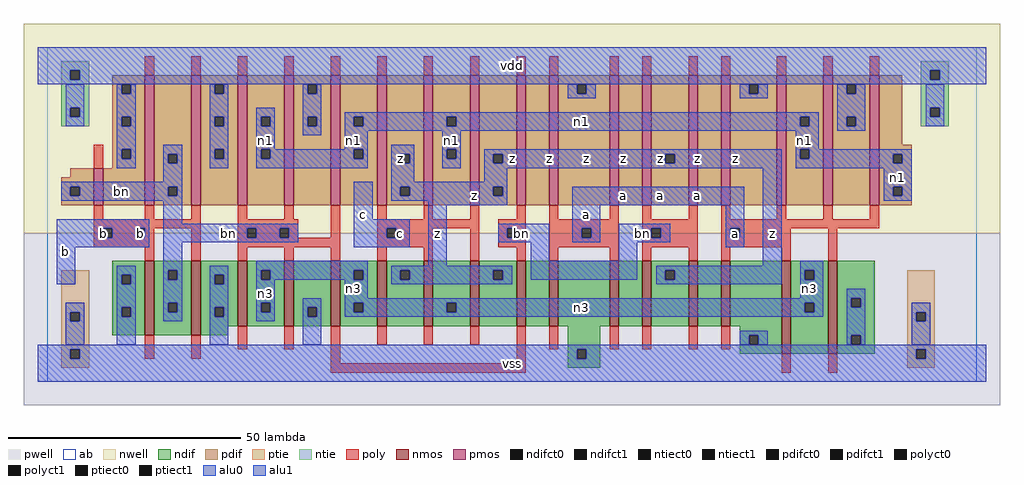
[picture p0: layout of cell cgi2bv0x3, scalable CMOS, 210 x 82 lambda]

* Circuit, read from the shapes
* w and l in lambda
.subckt cgi2bv0x3 a b bn c n1 n3 vdd vss z
M1 bn b vss vss nfet w=16 l=2 m=2
M2 n3 bn vss vss nfet w=14 l=2 m=3
M3 z c n3 vss nfet w=14 l=2 m=3
M4 n2 bn z vss nfet w=14 l=2
M5 vss a n2 vss nfet w=14 l=2
M6 n4 a vss vss nfet w=14 l=2
M7 z bn n4 vss nfet w=14 l=2
M8 n5 bn z vss nfet w=14 l=2
M9 vss a n5 vss nfet w=14 l=2
M10 n3 a vss vss nfet w=20 l=2 m=2
M11 vdd b bn vdd pfet w=8 l=2
M12 bn b vdd vdd pfet w=28 l=2 m=2
M13 n1 bn vdd vdd pfet w=28 l=2 m=3
M14 z c n1 vdd pfet w=28 l=2 m=3
M15 n6 bn z vdd pfet w=28 l=2
M16 vdd a n6 vdd pfet w=28 l=2
M17 n7 a vdd vdd pfet w=28 l=2
M18 z bn n7 vdd pfet w=28 l=2
M19 n8 bn z vdd pfet w=28 l=2
M20 vdd a n8 vdd pfet w=28 l=2
M21 n1 a vdd vdd pfet w=28 l=2 m=3
.ends

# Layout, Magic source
magic
tech scmos
<< ab >>
rect 0 0 200 72
<< nwell >>
rect -5 32 205 77
<< pwell >>
rect -5 -5 205 32
<< poly >>
rect 21 66 23 70
rect 31 66 33 70
rect 41 66 43 70
rect 51 66 53 70
rect 61 66 63 70
rect 71 66 73 70
rect 81 66 83 70
rect 91 66 93 70
rect 101 66 103 70
rect 108 66 110 70
rect 121 66 123 70
rect 128 66 130 70
rect 138 66 140 70
rect 145 66 147 70
rect 157 66 159 70
rect 167 66 169 70
rect 177 66 179 70
rect 10 46 12 51
rect 10 35 12 38
rect 21 35 23 38
rect 31 35 33 38
rect 10 33 33 35
rect 10 31 12 33
rect 14 31 19 33
rect 21 31 23 33
rect 10 29 23 31
rect 21 26 23 29
rect 31 26 33 33
rect 41 35 43 38
rect 51 35 53 38
rect 41 33 54 35
rect 41 31 43 33
rect 45 31 50 33
rect 52 31 54 33
rect 61 31 63 38
rect 41 29 63 31
rect 41 26 43 29
rect 51 26 53 29
rect 61 26 63 29
rect 71 35 73 38
rect 81 35 83 38
rect 91 35 93 38
rect 101 35 103 38
rect 71 33 93 35
rect 71 31 73 33
rect 75 31 83 33
rect 71 29 83 31
rect 71 26 73 29
rect 81 26 83 29
rect 91 26 93 33
rect 97 33 103 35
rect 97 31 99 33
rect 101 31 103 33
rect 97 29 103 31
rect 101 26 103 29
rect 108 35 110 38
rect 121 35 123 38
rect 108 33 123 35
rect 108 31 115 33
rect 117 31 123 33
rect 108 29 123 31
rect 108 26 110 29
rect 121 26 123 29
rect 128 35 130 38
rect 138 35 140 38
rect 128 33 140 35
rect 128 31 130 33
rect 132 31 140 33
rect 128 29 140 31
rect 128 26 130 29
rect 138 26 140 29
rect 145 35 147 38
rect 157 35 159 38
rect 167 35 169 38
rect 177 35 179 38
rect 145 33 179 35
rect 145 31 147 33
rect 149 31 160 33
rect 145 29 160 31
rect 145 26 147 29
rect 158 26 160 29
rect 168 26 170 33
rect 21 5 23 10
rect 31 5 33 10
rect 41 7 43 12
rect 51 7 53 12
rect 61 4 63 12
rect 71 8 73 12
rect 81 8 83 12
rect 91 8 93 12
rect 101 4 103 12
rect 108 7 110 12
rect 121 7 123 12
rect 128 7 130 12
rect 138 7 140 12
rect 145 7 147 12
rect 61 2 103 4
rect 158 2 160 6
rect 168 2 170 6
<< ndif >>
rect 14 23 21 26
rect 14 21 16 23
rect 18 21 21 23
rect 14 16 21 21
rect 14 14 16 16
rect 18 14 21 16
rect 14 10 21 14
rect 23 24 31 26
rect 23 22 26 24
rect 28 22 31 24
rect 23 17 31 22
rect 23 15 26 17
rect 28 15 31 17
rect 23 10 31 15
rect 33 23 41 26
rect 33 21 36 23
rect 38 21 41 23
rect 33 16 41 21
rect 33 14 36 16
rect 38 14 41 16
rect 33 12 41 14
rect 43 24 51 26
rect 43 22 46 24
rect 48 22 51 24
rect 43 17 51 22
rect 43 15 46 17
rect 48 15 51 17
rect 43 12 51 15
rect 53 16 61 26
rect 53 14 56 16
rect 58 14 61 16
rect 53 12 61 14
rect 63 24 71 26
rect 63 22 66 24
rect 68 22 71 24
rect 63 17 71 22
rect 63 15 66 17
rect 68 15 71 17
rect 63 12 71 15
rect 73 24 81 26
rect 73 22 76 24
rect 78 22 81 24
rect 73 12 81 22
rect 83 17 91 26
rect 83 15 86 17
rect 88 15 91 17
rect 83 12 91 15
rect 93 24 101 26
rect 93 22 96 24
rect 98 22 101 24
rect 93 12 101 22
rect 103 12 108 26
rect 110 12 121 26
rect 123 12 128 26
rect 130 24 138 26
rect 130 22 133 24
rect 135 22 138 24
rect 130 12 138 22
rect 140 12 145 26
rect 147 12 158 26
rect 33 10 39 12
rect 112 7 119 12
rect 149 10 158 12
rect 149 8 151 10
rect 153 8 158 10
rect 112 5 114 7
rect 116 5 119 7
rect 149 6 158 8
rect 160 24 168 26
rect 160 22 163 24
rect 165 22 168 24
rect 160 17 168 22
rect 160 15 163 17
rect 165 15 168 17
rect 160 6 168 15
rect 170 18 178 26
rect 170 16 173 18
rect 175 16 178 18
rect 170 10 178 16
rect 170 8 173 10
rect 175 8 178 10
rect 170 6 178 8
rect 112 3 119 5
<< pdif >>
rect 14 64 21 66
rect 14 62 16 64
rect 18 62 21 64
rect 14 57 21 62
rect 14 55 16 57
rect 18 55 21 57
rect 14 50 21 55
rect 14 48 16 50
rect 18 48 21 50
rect 14 46 21 48
rect 5 44 10 46
rect 3 42 10 44
rect 3 40 5 42
rect 7 40 10 42
rect 3 38 10 40
rect 12 38 21 46
rect 23 49 31 66
rect 23 47 26 49
rect 28 47 31 49
rect 23 42 31 47
rect 23 40 26 42
rect 28 40 31 42
rect 23 38 31 40
rect 33 64 41 66
rect 33 62 36 64
rect 38 62 41 64
rect 33 57 41 62
rect 33 55 36 57
rect 38 55 41 57
rect 33 50 41 55
rect 33 48 36 50
rect 38 48 41 50
rect 33 38 41 48
rect 43 57 51 66
rect 43 55 46 57
rect 48 55 51 57
rect 43 50 51 55
rect 43 48 46 50
rect 48 48 51 50
rect 43 38 51 48
rect 53 64 61 66
rect 53 62 56 64
rect 58 62 61 64
rect 53 57 61 62
rect 53 55 56 57
rect 58 55 61 57
rect 53 38 61 55
rect 63 57 71 66
rect 63 55 66 57
rect 68 55 71 57
rect 63 50 71 55
rect 63 48 66 50
rect 68 48 71 50
rect 63 38 71 48
rect 73 49 81 66
rect 73 47 76 49
rect 78 47 81 49
rect 73 42 81 47
rect 73 40 76 42
rect 78 40 81 42
rect 73 38 81 40
rect 83 57 91 66
rect 83 55 86 57
rect 88 55 91 57
rect 83 50 91 55
rect 83 48 86 50
rect 88 48 91 50
rect 83 38 91 48
rect 93 49 101 66
rect 93 47 96 49
rect 98 47 101 49
rect 93 42 101 47
rect 93 40 96 42
rect 98 40 101 42
rect 93 38 101 40
rect 103 38 108 66
rect 110 64 121 66
rect 110 62 114 64
rect 116 62 121 64
rect 110 38 121 62
rect 123 38 128 66
rect 130 49 138 66
rect 130 47 133 49
rect 135 47 138 49
rect 130 38 138 47
rect 140 38 145 66
rect 147 64 157 66
rect 147 62 151 64
rect 153 62 157 64
rect 147 38 157 62
rect 159 57 167 66
rect 159 55 162 57
rect 164 55 167 57
rect 159 50 167 55
rect 159 48 162 50
rect 164 48 167 50
rect 159 38 167 48
rect 169 64 177 66
rect 169 62 172 64
rect 174 62 177 64
rect 169 57 177 62
rect 169 55 172 57
rect 174 55 177 57
rect 169 38 177 55
rect 179 51 184 66
rect 179 49 186 51
rect 179 47 182 49
rect 184 47 186 49
rect 179 42 186 47
rect 179 40 182 42
rect 184 40 186 42
rect 179 38 186 40
<< alu1 >>
rect -2 67 202 72
rect -2 65 5 67
rect 7 65 190 67
rect 192 65 202 67
rect -2 64 202 65
rect 74 49 79 51
rect 74 47 76 49
rect 78 47 79 49
rect 74 43 79 47
rect 94 49 158 50
rect 94 47 96 49
rect 98 47 133 49
rect 135 47 158 49
rect 94 46 158 47
rect 94 43 99 46
rect 2 33 22 35
rect 2 31 12 33
rect 14 31 19 33
rect 21 31 22 33
rect 2 29 22 31
rect 66 35 70 43
rect 74 42 99 43
rect 74 40 76 42
rect 78 40 96 42
rect 98 40 99 42
rect 74 39 99 40
rect 82 38 99 39
rect 113 38 150 42
rect 66 33 78 35
rect 66 31 73 33
rect 75 31 78 33
rect 2 21 6 29
rect 66 29 78 31
rect 82 25 86 38
rect 113 33 119 38
rect 113 31 115 33
rect 117 31 119 33
rect 113 30 119 31
rect 146 33 150 38
rect 146 31 147 33
rect 149 31 150 33
rect 146 29 150 31
rect 74 24 100 25
rect 74 22 76 24
rect 78 22 96 24
rect 98 22 100 24
rect 154 25 158 46
rect 131 24 158 25
rect 131 22 133 24
rect 135 22 158 24
rect 74 21 100 22
rect 131 21 158 22
rect -2 7 202 8
rect -2 5 5 7
rect 7 5 114 7
rect 116 5 187 7
rect 189 5 202 7
rect -2 0 202 5
<< ptie >>
rect 3 15 9 24
rect 3 13 5 15
rect 7 13 9 15
rect 3 7 9 13
rect 3 5 5 7
rect 7 5 9 7
rect 3 3 9 5
rect 185 15 191 24
rect 185 13 187 15
rect 189 13 191 15
rect 185 7 191 13
rect 185 5 187 7
rect 189 5 191 7
rect 185 3 191 5
<< ntie >>
rect 3 67 9 69
rect 3 65 5 67
rect 7 65 9 67
rect 188 67 194 69
rect 3 59 9 65
rect 3 57 5 59
rect 7 57 9 59
rect 3 55 9 57
rect 188 65 190 67
rect 192 65 194 67
rect 188 59 194 65
rect 188 57 190 59
rect 192 57 194 59
rect 188 55 194 57
<< nmos >>
rect 21 10 23 26
rect 31 10 33 26
rect 41 12 43 26
rect 51 12 53 26
rect 61 12 63 26
rect 71 12 73 26
rect 81 12 83 26
rect 91 12 93 26
rect 101 12 103 26
rect 108 12 110 26
rect 121 12 123 26
rect 128 12 130 26
rect 138 12 140 26
rect 145 12 147 26
rect 158 6 160 26
rect 168 6 170 26
<< pmos >>
rect 10 38 12 46
rect 21 38 23 66
rect 31 38 33 66
rect 41 38 43 66
rect 51 38 53 66
rect 61 38 63 66
rect 71 38 73 66
rect 81 38 83 66
rect 91 38 93 66
rect 101 38 103 66
rect 108 38 110 66
rect 121 38 123 66
rect 128 38 130 66
rect 138 38 140 66
rect 145 38 147 66
rect 157 38 159 66
rect 167 38 169 66
rect 177 38 179 66
<< polyct0 >>
rect 43 31 45 33
rect 50 31 52 33
rect 99 31 101 33
rect 130 31 132 33
<< polyct1 >>
rect 12 31 14 33
rect 19 31 21 33
rect 73 31 75 33
rect 115 31 117 33
rect 147 31 149 33
<< ndifct0 >>
rect 16 21 18 23
rect 16 14 18 16
rect 26 22 28 24
rect 26 15 28 17
rect 36 21 38 23
rect 36 14 38 16
rect 46 22 48 24
rect 46 15 48 17
rect 56 14 58 16
rect 66 22 68 24
rect 66 15 68 17
rect 86 15 88 17
rect 151 8 153 10
rect 163 22 165 24
rect 163 15 165 17
rect 173 16 175 18
rect 173 8 175 10
<< ndifct1 >>
rect 76 22 78 24
rect 96 22 98 24
rect 133 22 135 24
rect 114 5 116 7
<< ntiect0 >>
rect 5 57 7 59
rect 190 57 192 59
<< ntiect1 >>
rect 5 65 7 67
rect 190 65 192 67
<< ptiect0 >>
rect 5 13 7 15
rect 187 13 189 15
<< ptiect1 >>
rect 5 5 7 7
rect 187 5 189 7
<< pdifct0 >>
rect 16 62 18 64
rect 16 55 18 57
rect 16 48 18 50
rect 5 40 7 42
rect 26 47 28 49
rect 26 40 28 42
rect 36 62 38 64
rect 36 55 38 57
rect 36 48 38 50
rect 46 55 48 57
rect 46 48 48 50
rect 56 62 58 64
rect 56 55 58 57
rect 66 55 68 57
rect 66 48 68 50
rect 86 55 88 57
rect 86 48 88 50
rect 114 62 116 64
rect 151 62 153 64
rect 162 55 164 57
rect 162 48 164 50
rect 172 62 174 64
rect 172 55 174 57
rect 182 47 184 49
rect 182 40 184 42
<< pdifct1 >>
rect 76 47 78 49
rect 76 40 78 42
rect 96 47 98 49
rect 96 40 98 42
rect 133 47 135 49
<< alu0 >>
rect 4 59 8 64
rect 4 57 5 59
rect 7 57 8 59
rect 4 55 8 57
rect 15 62 16 64
rect 18 62 19 64
rect 15 57 19 62
rect 15 55 16 57
rect 18 55 19 57
rect 15 50 19 55
rect 35 62 36 64
rect 38 62 39 64
rect 35 57 39 62
rect 55 62 56 64
rect 58 62 59 64
rect 35 55 36 57
rect 38 55 39 57
rect 15 48 16 50
rect 18 48 19 50
rect 15 46 19 48
rect 25 49 29 51
rect 25 47 26 49
rect 28 47 29 49
rect 25 43 29 47
rect 35 50 39 55
rect 35 48 36 50
rect 38 48 39 50
rect 35 46 39 48
rect 45 57 49 59
rect 45 55 46 57
rect 48 55 49 57
rect 45 50 49 55
rect 55 57 59 62
rect 112 62 114 64
rect 116 62 118 64
rect 112 61 118 62
rect 149 62 151 64
rect 153 62 155 64
rect 149 61 155 62
rect 170 62 172 64
rect 174 62 176 64
rect 55 55 56 57
rect 58 55 59 57
rect 55 53 59 55
rect 64 57 166 58
rect 64 55 66 57
rect 68 55 86 57
rect 88 55 162 57
rect 164 55 166 57
rect 64 54 166 55
rect 170 57 176 62
rect 170 55 172 57
rect 174 55 176 57
rect 189 59 193 64
rect 189 57 190 59
rect 192 57 193 59
rect 189 55 193 57
rect 170 54 176 55
rect 64 50 69 54
rect 45 48 46 50
rect 48 48 66 50
rect 68 48 69 50
rect 45 46 69 48
rect 85 50 89 54
rect 161 50 166 54
rect 85 48 86 50
rect 88 48 89 50
rect 85 46 89 48
rect 161 48 162 50
rect 164 49 186 50
rect 164 48 182 49
rect 161 47 182 48
rect 184 47 186 49
rect 161 46 186 47
rect 3 42 29 43
rect 3 40 5 42
rect 7 40 26 42
rect 28 40 29 42
rect 3 39 29 40
rect 25 34 29 39
rect 25 33 54 34
rect 25 31 43 33
rect 45 31 50 33
rect 52 31 54 33
rect 25 30 54 31
rect 15 23 19 25
rect 15 21 16 23
rect 18 21 19 23
rect 4 15 8 17
rect 4 13 5 15
rect 7 13 8 15
rect 4 8 8 13
rect 15 16 19 21
rect 15 14 16 16
rect 18 14 19 16
rect 15 8 19 14
rect 25 24 29 30
rect 25 22 26 24
rect 28 22 29 24
rect 25 17 29 22
rect 25 15 26 17
rect 28 15 29 17
rect 25 13 29 15
rect 35 23 39 25
rect 35 21 36 23
rect 38 21 39 23
rect 35 16 39 21
rect 35 14 36 16
rect 38 14 39 16
rect 35 8 39 14
rect 45 24 69 26
rect 97 33 108 34
rect 97 31 99 33
rect 101 31 108 33
rect 97 30 108 31
rect 123 33 134 34
rect 123 31 130 33
rect 132 31 134 33
rect 123 30 134 31
rect 104 26 108 30
rect 123 26 127 30
rect 45 22 46 24
rect 48 22 66 24
rect 68 22 69 24
rect 45 17 49 22
rect 64 18 69 22
rect 104 22 127 26
rect 180 42 186 46
rect 180 40 182 42
rect 184 40 186 42
rect 180 39 186 40
rect 162 24 167 26
rect 162 22 163 24
rect 165 22 167 24
rect 162 18 167 22
rect 45 15 46 17
rect 48 15 49 17
rect 45 13 49 15
rect 55 16 59 18
rect 55 14 56 16
rect 58 14 59 16
rect 64 17 167 18
rect 64 15 66 17
rect 68 15 86 17
rect 88 15 163 17
rect 165 15 167 17
rect 64 14 167 15
rect 172 18 176 20
rect 172 16 173 18
rect 175 16 176 18
rect 55 8 59 14
rect 149 10 155 11
rect 149 8 151 10
rect 153 8 155 10
rect 172 10 176 16
rect 172 8 173 10
rect 175 8 176 10
rect 186 15 190 17
rect 186 13 187 15
rect 189 13 190 15
rect 186 8 190 13
<< labels >>
rlabel alu0 47 19 47 19 6 n3
rlabel alu0 16 41 16 41 6 bn
rlabel alu0 47 52 47 52 6 n1
rlabel alu0 66 20 66 20 6 n3
rlabel alu0 39 32 39 32 6 bn
rlabel alu0 87 52 87 52 6 n1
rlabel alu0 66 52 66 52 6 n1
rlabel alu0 102 32 102 32 6 bn
rlabel alu0 128 32 128 32 6 bn
rlabel alu0 115 16 115 16 6 n3
rlabel alu0 164 20 164 20 6 n3
rlabel alu0 183 44 183 44 6 n1
rlabel alu0 163 52 163 52 6 n1
rlabel alu0 115 56 115 56 6 n1
rlabel polyct1 20 32 20 32 6 b
rlabel alu1 12 32 12 32 6 b
rlabel alu1 4 28 4 28 6 b
rlabel alu1 76 32 76 32 6 c
rlabel alu1 68 36 68 36 6 c
rlabel alu1 76 48 76 48 6 z
rlabel alu1 100 4 100 4 6 vss
rlabel alu1 84 32 84 32 6 z
rlabel alu1 92 40 92 40 6 z
rlabel alu1 116 36 116 36 6 a
rlabel alu1 108 48 108 48 6 z
rlabel alu1 100 48 100 48 6 z
rlabel alu1 116 48 116 48 6 z
rlabel alu1 100 68 100 68 6 vdd
rlabel alu1 156 32 156 32 6 z
rlabel polyct1 148 32 148 32 6 a
rlabel alu1 124 40 124 40 6 a
rlabel alu1 140 40 140 40 6 a
rlabel alu1 132 40 132 40 6 a
rlabel alu1 124 48 124 48 6 z
rlabel alu1 132 48 132 48 6 z
rlabel alu1 148 48 148 48 6 z
rlabel alu1 140 48 140 48 6 z
<< end >>
